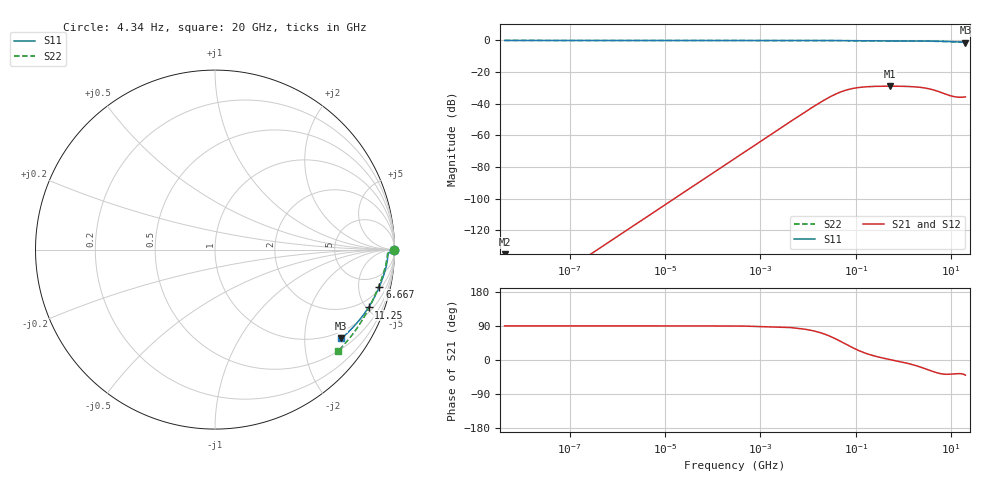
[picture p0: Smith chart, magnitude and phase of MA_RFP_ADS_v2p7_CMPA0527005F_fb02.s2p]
! Created Thu Oct 05 12:25:15 2017
! List of port names and net name(s): example Port n = <port_name> <net_name1> <net_name2> ...
! Port 1 = P1 P1
! Port 2 = P2 P3
# hz S ma R 50
! 2 Port Network Data from data block
! freq  magS11  angS11  magS21  angS21  magS12  angS12  magS22  angS22
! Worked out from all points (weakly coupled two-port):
!   134 points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, 4.34 Hz to 20 GHz, reference 50 ohm
!   highest |S21| = -28.90 dB at 520.8 MHz (marker M1); lowest = -171.1 dB at 4.34 Hz (marker M2)
!   lowest |S11| = -1.3 dB at 20 GHz (marker M3), VSWR 13.33, Z = 39 - j149 ohm
!   |S11| at or under -10 dB: nowhere
!   |S22| runs from -1.0 to 0.0 dB; largest |S21 - S12| = 0
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4.340278  1 -0.0  2.776e-09 90.0  2.776e-09 90.0  1 -0.0
434.0278  1 -0.0  2.776e-07 90.0  2.776e-07 90.0  1 -0.0
43402.78  1 -0.0  2.776e-05 90.0  2.776e-05 90.0  1 -0.0
434027.8  1 -0.0  0.0002776 89.6  0.0002776 89.6  1 -0.0
4340278  0.9998 -0.2  0.002768 85.6  0.002768 85.6  0.9998 -0.2
1.302083e7  0.9983 -0.5  0.008116 77.0  0.008116 77.0  0.9981 -0.5
2.170139e7  0.9957 -0.7  0.01296 68.9  0.01296 68.9  0.9951 -0.8
3.472222e7  0.9907 -1.0  0.01894 58.2  0.01894 58.2  0.9895 -1.1
4.774306e7  0.9858 -1.1  0.02337 49.5  0.02337 49.5  0.984 -1.2
6.944444e7  0.9794 -1.1  0.02811 38.6  0.02811 38.6  0.9768 -1.3
9.982639e7  0.974 -1.1  0.03156 28.7  0.03156 28.7  0.9707 -1.2
1.5625e8  0.9695 -1.0  0.03411 18.5  0.03411 18.5  0.9657 -1.1
2.604167e8  0.967 -1.0  0.03543 9.8  0.03543 9.8  0.9629 -1.1
5.208333e8  0.9656 -1.3  0.0359 1.3  0.0359 1.3  0.9612 -1.6
1.25e9  0.9639 -2.7  0.03515 -9.1  0.03515 -9.1  0.9587 -3.3
2.465278e9  0.9596 -5.1  0.03244 -20.1  0.03244 -20.1  0.9524 -6.2
3.958333e9  0.9527 -7.9  0.02827 -29.3  0.02827 -29.3  0.9433 -9.5
6.666667e9  0.9389 -12.8  0.02183 -37.0  0.02183 -37.0  0.9291 -15.0
9.166667e9  0.9255 -17.1  0.01837 -37.5  0.01837 -37.5  0.9193 -19.9
1.125e10  0.9139 -20.6  0.01696 -36.5  0.01696 -36.5  0.9125 -23.8
1.5e10  0.8918 -26.9  0.01605 -35.8  0.01605 -35.8  0.9017 -30.8
2e10  0.8605 -35.1  0.01644 -40.0  0.01644 -40.0  0.8881 -39.7
